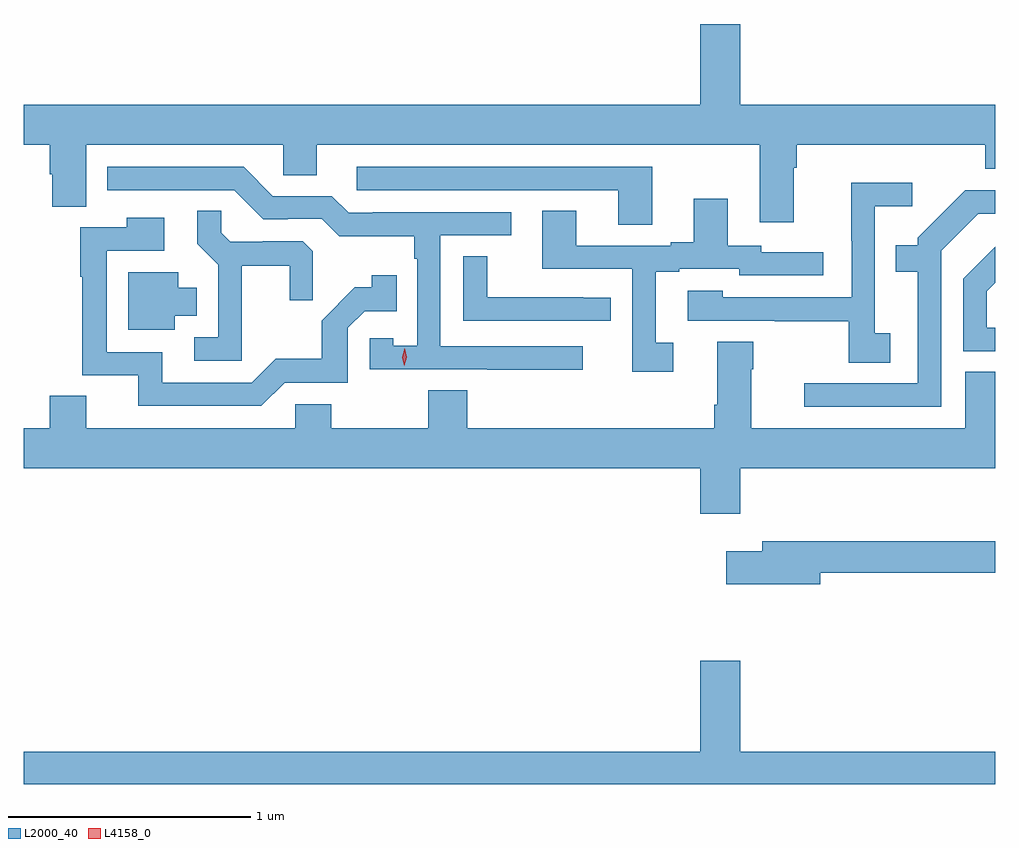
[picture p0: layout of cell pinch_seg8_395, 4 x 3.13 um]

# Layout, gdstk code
import gdstk
lib = gdstk.Library(unit=1e-6, precision=1e-09)
def P(c, l, *ps):  # polygons
    for p in ps: c.add(gdstk.Polygon(p, *l))
L2000_40 = (2000, 40)
L4158_0 = (4158, 0)

pinch_seg8_395 = lib.new_cell('pinch_seg8_395')
P(pinch_seg8_395, L2000_40, [(549.007,1084.436),(549.02,1084.436),(549.02,1084.532),(549.797,1084.532),(549.797,1084.433),(549.838,1084.433),(549.838,1084.696),(548.788,1084.696),(548.788,1085.028),(548.624,1085.028),(548.624,1084.696),(545.838,1084.696),(545.838,1084.532),(545.945,1084.532),(545.945,1084.41),(545.957,1084.41),(545.957,1084.276),(546.097,1084.276),(546.097,1084.532),(546.906,1084.532),(546.906,1084.405),(547.045,1084.405),(547.045,1084.532),(548.867,1084.532),(548.867,1084.212),(549.007,1084.212)],
  [(548.14,1083.702),(547.554,1083.702),(547.554,1084.158),(547.846,1084.158),(547.846,1084.254),(547.276,1084.254),(547.276,1084.251),(547.176,1084.251),(547.107,1084.32),(546.864,1084.32),(546.744,1084.44),(546.182,1084.44),(546.182,1084.344),(546.705,1084.344),(546.825,1084.224),(546.926,1084.224),(546.926,1084.227),(547.065,1084.227),(547.138,1084.154),(547.446,1084.154),(547.446,1084.061),(547.458,1084.061),(547.458,1083.703),(547.359,1083.703),(547.359,1083.735),(547.263,1083.735),(547.263,1083.606),(547.747,1083.606),(547.747,1083.604),(548.14,1083.604)],
  [(548.425,1084.44),(547.209,1084.44),(547.209,1084.344),(548.285,1084.344),(548.285,1084.201),(548.425,1084.201)],
  [(549.406,1083.756),(549.342,1083.756),(549.342,1084.277),(549.496,1084.277),(549.496,1084.375),(549.244,1084.375),(549.244,1084.136),(549.246,1084.136),(549.246,1083.903),(548.715,1083.903),(548.715,1083.931),(548.571,1083.931),(548.571,1083.807),(548.929,1083.807),(548.929,1083.805),(549.234,1083.805),(549.234,1083.634),(549.406,1083.634)],
  [(549.615,1084.095),(549.768,1084.248),(549.838,1084.248),(549.838,1084.344),(549.714,1084.344),(549.519,1084.149),(549.519,1084.117),(549.427,1084.117),(549.427,1084.008),(549.518,1084.008),(549.518,1083.549),(549.051,1083.549),(549.051,1083.453),(549.615,1083.453)],
  [(548.512,1083.717),(548.44,1083.717),(548.44,1084.008),(548.536,1084.008),(548.536,1084.02),(548.784,1084.02),(548.784,1083.993),(549.13,1083.993),(549.13,1084.089),(548.874,1084.089),(548.874,1084.116),(548.737,1084.116),(548.737,1084.309),(548.597,1084.309),(548.597,1084.129),(548.501,1084.129),(548.501,1084.116),(548.113,1084.116),(548.113,1084.259),(547.973,1084.259),(547.973,1084.02),(548.343,1084.02),(548.343,1083.597),(548.512,1083.597)],
  [(546.737,1084.034),(546.934,1084.034),(546.934,1083.891),(547.028,1083.891),(547.028,1084.093),(546.987,1084.134),(546.822,1084.134),(546.822,1084.131),(546.688,1084.131),(546.651,1084.168),(546.651,1084.259),(546.553,1084.259),(546.553,1084.123),(546.639,1084.037),(546.639,1083.738),(546.54,1083.738),(546.54,1083.642),(546.737,1083.642)],
  [(546.912,1083.552),(547.173,1083.552),(547.173,1083.777),(547.242,1083.846),(547.373,1083.846),(547.373,1083.994),(547.272,1083.994),(547.272,1083.944),(547.202,1083.944),(547.065,1083.806),(547.065,1083.651),(546.876,1083.651),(546.777,1083.552),(546.409,1083.552),(546.409,1083.678),(546.18,1083.678),(546.18,1084.095),(546.418,1084.095),(546.418,1084.231),(546.262,1084.231),(546.262,1084.191),(546.072,1084.191),(546.072,1083.988),(546.079,1083.988),(546.079,1083.582),(546.311,1083.582),(546.311,1083.456),(546.816,1083.456)],
  [(549.838,1083.778),(549.802,1083.778),(549.802,1083.928),(549.838,1083.964),(549.838,1084.112),(549.705,1083.979),(549.705,1083.681),(549.838,1083.681)],
  [(548.254,1083.902),(548.141,1083.902),(548.141,1083.903),(547.746,1083.903),(547.746,1084.073),(547.647,1084.073),(547.647,1083.807),(548.254,1083.807)],
  [(546.46,1083.827),(546.55,1083.827),(546.55,1083.943),(546.475,1083.943),(546.475,1084.006),(546.269,1084.006),(546.269,1083.77),(546.46,1083.77)],
  [(548.788,1083.2),(549.838,1083.2),(549.838,1083.596),(549.713,1083.596),(549.713,1083.364),(548.833,1083.364),(548.833,1083.608),(548.841,1083.608),(548.841,1083.721),(548.693,1083.721),(548.693,1083.46),(548.681,1083.46),(548.681,1083.364),(547.664,1083.364),(547.664,1083.521),(547.504,1083.521),(547.504,1083.364),(547.104,1083.364),(547.104,1083.462),(546.957,1083.462),(546.957,1083.364),(546.097,1083.364),(546.097,1083.497),(545.945,1083.497),(545.945,1083.364),(545.838,1083.364),(545.838,1083.2),(548.624,1083.2),(548.624,1083.012),(548.788,1083.012)],
  [(549.118,1082.77),(549.838,1082.77),(549.838,1082.899),(548.879,1082.899),(548.879,1082.857),(548.73,1082.857),(548.73,1082.723),(549.118,1082.723)],
  [(549.838,1082.032),(548.788,1082.032),(548.788,1082.407),(548.624,1082.407),(548.624,1082.032),(545.838,1082.032),(545.838,1081.9),(549.838,1081.9)])
P(pinch_seg8_395, L4158_0, [(547.405,1083.621),(547.405,1083.621),(547.396,1083.657),(547.406,1083.693),(547.406,1083.693),(547.406,1083.693),(547.416,1083.657),(547.405,1083.621)])

lib.write_gds('pinch_seg8_395.gds')
